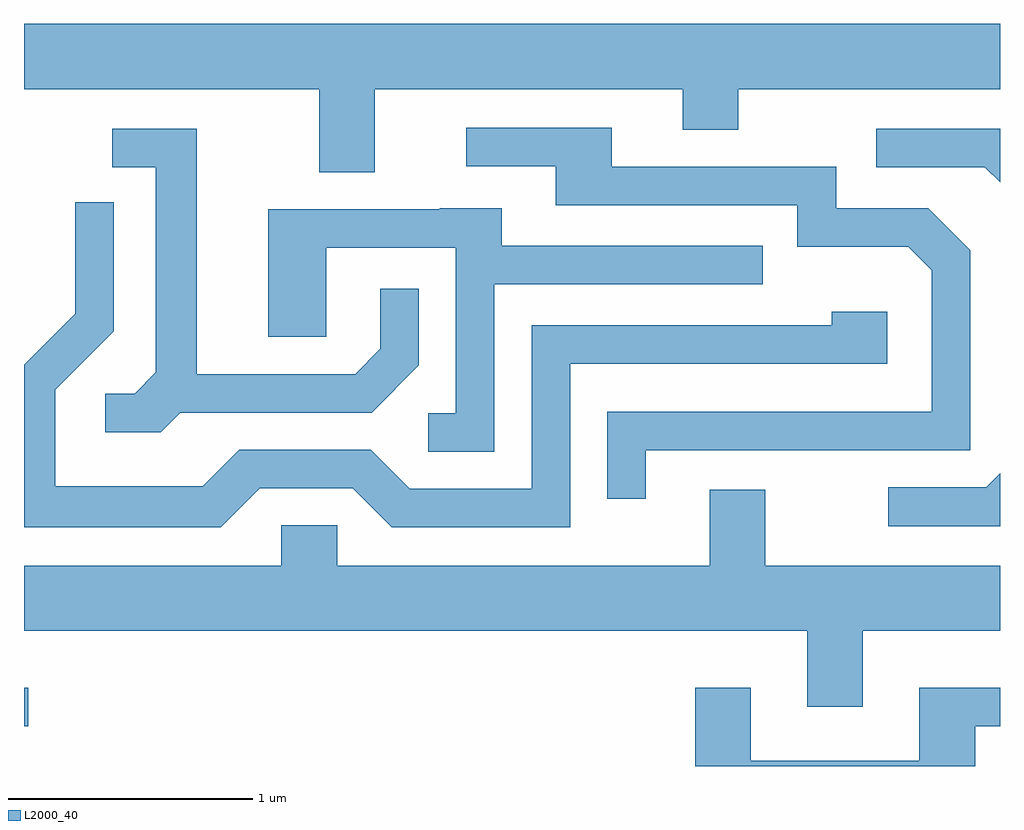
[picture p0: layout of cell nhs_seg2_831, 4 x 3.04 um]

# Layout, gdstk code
import gdstk
lib = gdstk.Library(unit=1e-6, precision=1e-09)
def R(c, l, rs):  # rectangles x0, y0, x1, y1
    for r in rs: c.add(gdstk.rectangle(r[:2], r[2:], *l))
def P(c, l, *ps):  # polygons
    for p in ps: c.add(gdstk.Polygon(p, *l))
L2000_40 = (2000, 40)

nhs_seg2_831 = lib.new_cell('nhs_seg2_831')
R(nhs_seg2_831, L2000_40, [(209.611,1007.966,209.628,1008.124)])
P(nhs_seg2_831, L2000_40, [(211.049,1010.576),(212.311,1010.576),(212.311,1010.411),(212.539,1010.411),(212.539,1010.576),(213.611,1010.576),(213.611,1010.844),(209.611,1010.844),(209.611,1010.576),(210.821,1010.576),(210.821,1010.236),(211.049,1010.236)],
  [(212.159,1009.096),(213.489,1009.096),(213.489,1009.917),(213.317,1010.089),(212.939,1010.089),(212.939,1010.259),(212.019,1010.259),(212.019,1010.419),(211.423,1010.419),(211.423,1010.261),(211.791,1010.261),(211.791,1010.101),(212.781,1010.101),(212.781,1009.931),(213.234,1009.931),(213.331,1009.834),(213.331,1009.254),(212.001,1009.254),(212.001,1008.898),(212.159,1008.898)],
  [(210.252,1009.251),(211.037,1009.251),(211.229,1009.444),(211.229,1009.758),(211.071,1009.758),(211.071,1009.512),(210.969,1009.409),(210.319,1009.409),(210.319,1010.414),(209.973,1010.414),(209.973,1010.256),(210.151,1010.256),(210.151,1009.417),(210.064,1009.329),(209.943,1009.329),(209.943,1009.171),(210.172,1009.171)],
  [(213.611,1010.414),(213.103,1010.414),(213.103,1010.256),(213.549,1010.256),(213.611,1010.194)],
  [(210.577,1008.941),(210.959,1008.941),(211.119,1008.781),(211.849,1008.781),(211.849,1009.451),(213.149,1009.451),(213.149,1009.664),(212.921,1009.664),(212.921,1009.609),(211.691,1009.609),(211.691,1008.939),(211.192,1008.939),(211.032,1009.099),(210.494,1009.099),(210.344,1008.949),(209.739,1008.949),(209.739,1009.344),(209.979,1009.584),(209.979,1010.113),(209.821,1010.113),(209.821,1009.657),(209.611,1009.447),(209.611,1008.781),(210.417,1008.781)],
  [(211.539,1009.776),(212.638,1009.776),(212.638,1009.934),(211.569,1009.934),(211.569,1010.089),(211.315,1010.089),(211.315,1010.084),(210.611,1010.084),(210.611,1009.561),(210.849,1009.561),(210.849,1009.926),(211.381,1009.926),(211.381,1009.249),(211.268,1009.249),(211.268,1009.091),(211.539,1009.091)],
  [(213.611,1009.002),(213.554,1008.944),(213.153,1008.944),(213.153,1008.786),(213.611,1008.786)],
  [(213.049,1008.356),(213.611,1008.356),(213.611,1008.624),(212.649,1008.624),(212.649,1008.934),(212.421,1008.934),(212.421,1008.624),(210.894,1008.624),(210.894,1008.789),(210.666,1008.789),(210.666,1008.624),(209.611,1008.624),(209.611,1008.356),(212.821,1008.356),(212.821,1008.046),(213.049,1008.046)],
  [(213.509,1007.966),(213.611,1007.966),(213.611,1008.124),(213.281,1008.124),(213.281,1007.824),(212.589,1007.824),(212.589,1008.124),(212.361,1008.124),(212.361,1007.802),(213.509,1007.802)])

lib.write_gds('nhs_seg2_831.gds')
